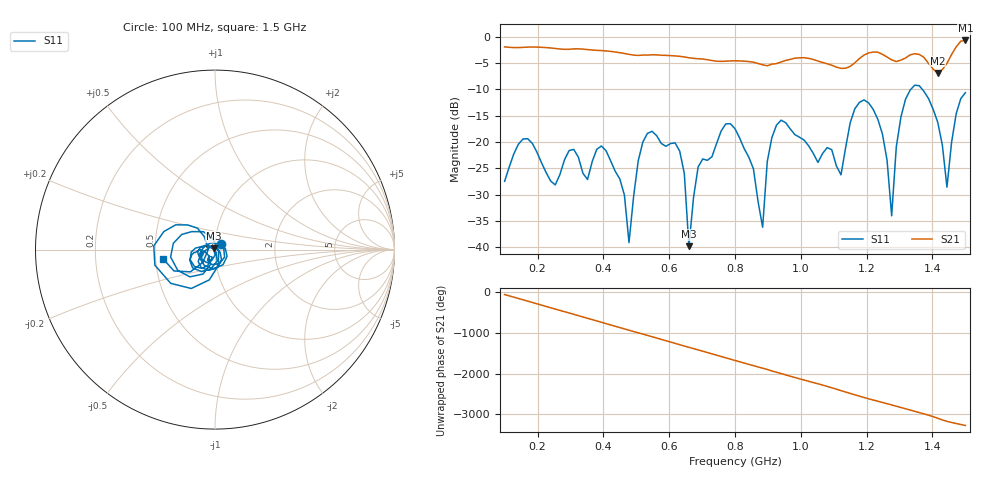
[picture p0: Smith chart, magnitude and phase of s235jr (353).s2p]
! NanoVNA-App
! Date: 2025-09-25 15:06:54
! Start: 100MHz Stop: 1,5GHz Points: 101
! S-Parameter data: F S11 S21 S12 S22
# Hz S RI R 50
!  Frequency  S11_Real  S11_Imag  S21_Real  S21_Imag  S12_Real  S12_Imag  S22_Real  S22_Imag
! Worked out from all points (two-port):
!   101 points, 100 MHz to 1.5 GHz, reference 50 ohm
!   highest |S21| = -0.74 dB at 1.5 GHz (marker M1); lowest = -6.9 dB at 1.416 GHz (marker M2)
!   |S21| within 3 dB of the highest: start of sweep to 630.5 MHz; 1.187 GHz to 1.258 GHz (70.86 MHz wide, 5.8 % of centre) (the widest 2 of 4)
!   lowest |S11| = -39.8 dB at 660 MHz (marker M3), VSWR 1.02, Z = 49.2 + j0.624 ohm
!   |S11| at or under -10 dB: start of sweep to 1.334 GHz; 1.369 GHz to end of sweep
!   S12 and S22 are empty: the file has one direction only
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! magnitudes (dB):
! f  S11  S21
! 100 MHz  -27.5  -2.0
! 156 MHz  -19.4  -2.1
! 338 MHz  -25.9  -2.4
! 408 MHz  -21.6  -2.7
! 478 MHz  -39.1  -3.4
! 520 MHz  -20.0  -3.5
! 576 MHz  -20.3  -3.5
! 632 MHz  -21.7  -3.7
! 660 MHz  -39.8  -4.0
! 688 MHz  -24.7  -4.2
! 800 MHz  -17.5  -4.6
! 884 MHz  -36.2  -5.4
! 926 MHz  -16.8  -5.1
! 1.038 GHz  -22.2  -4.3
! 1.122 GHz  -26.2  -6.0
! 1.206 GHz  -12.6  -3.1
! 1.248 GHz  -18.5  -3.4
! 1.276 GHz  -34.0  -4.4
! 1.318 GHz  -11.9  -4.1
! 1.416 GHz  -16.3  -6.9
! 1.444 GHz  -28.6  -5.1
! 1.5 GHz  -10.7  -0.7
